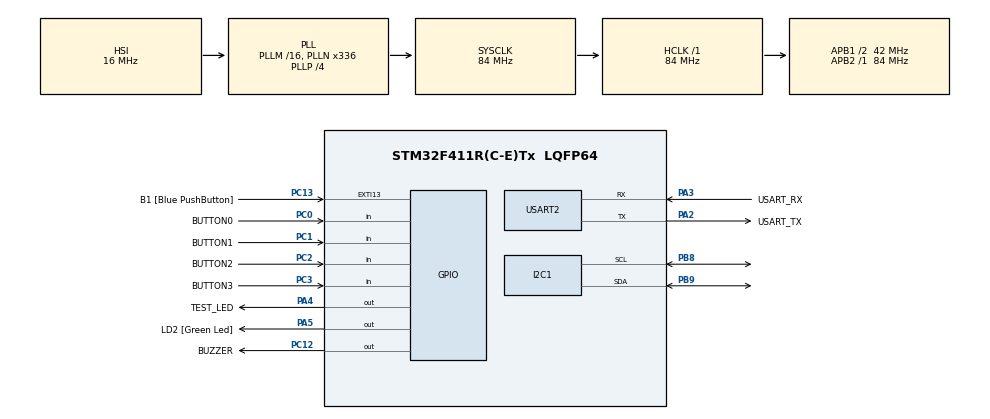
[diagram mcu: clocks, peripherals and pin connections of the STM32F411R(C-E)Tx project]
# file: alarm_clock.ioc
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Mcu.Family=STM32F4
Mcu.Name=STM32F411R(C-E)Tx
Mcu.Package=LQFP64
NVIC.PriorityGroup=NVIC_PRIORITYGROUP_0
NVIC.TIM3_IRQn=true\:0\:0\:false\:false\:true\:true\:true\:true
NVIC.USART2_IRQn=true\:0\:0\:false\:false\:true\:true\:true\:true
PA13.GPIO_Label=TMS
PA13.Mode=Serial_Wire
PA13.Signal=SYS_JTMS-SWDIO
PA14.GPIO_Label=TCK
PA14.Mode=Serial_Wire
PA14.Signal=SYS_JTCK-SWCLK
PA2.GPIO_Label=USART_TX
PA2.Mode=Asynchronous
PA2.Signal=USART2_TX
PA3.GPIO_Label=USART_RX
PA3.Mode=Asynchronous
PA3.Signal=USART2_RX
PA4.GPIO_Label=TEST_LED
PA4.Signal=GPIO_Output
PA5.GPIO_Label=LD2 [Green Led]
PA5.Signal=GPIO_Output
PB8.Mode=I2C
PB8.Signal=I2C1_SCL
PB9.Mode=I2C
PB9.Signal=I2C1_SDA
PC0.GPIO_Label=BUTTON0
PC0.Signal=GPIO_Input
PC1.GPIO_Label=BUTTON1
PC1.Signal=GPIO_Input
PC12.GPIO_Label=BUZZER
PC12.Signal=GPIO_Output
PC13-ANTI_TAMP.GPIO_Label=B1 [Blue PushButton]
PC13-ANTI_TAMP.GPIO_ModeDefaultEXTI=GPIO_MODE_IT_FALLING
PC13-ANTI_TAMP.Signal=GPXTI13
PC14-OSC32_IN.Signal=RCC_OSC32_IN
PC15-OSC32_OUT.Signal=RCC_OSC32_OUT
PC2.GPIO_Label=BUTTON2
PC2.Signal=GPIO_Input
PC3.GPIO_Label=BUTTON3
PC3.Signal=GPIO_Input
PH0\ -\ OSC_IN.Signal=RCC_OSC_IN
PH1\ -\ OSC_OUT.Signal=RCC_OSC_OUT
ProjectManager.HeapSize=0x200
ProjectManager.StackSize=0x400
ProjectManager.TargetToolchain=STM32CubeIDE
RCC.48MHZClocksFreq_Value=84000000
RCC.AHBFreq_Value=84000000
RCC.APB1CLKDivider=RCC_HCLK_DIV2
RCC.APB1Freq_Value=42000000
RCC.APB1TimFreq_Value=84000000
RCC.APB2Freq_Value=84000000
RCC.APB2TimFreq_Value=84000000
RCC.CortexFreq_Value=84000000
RCC.FLatency-AdvancedSettings=FLASH_LATENCY_2
RCC.HCLKFreq_Value=84000000
RCC.HSE_VALUE=8000000
RCC.HSI_VALUE=16000000
RCC.LSE_VALUE=32768
RCC.PLLN=336
RCC.PLLP=RCC_PLLP_DIV4
RCC.SYSCLKFreq_VALUE=84000000
RCC.SYSCLKSource=RCC_SYSCLKSOURCE_PLLCLK
RCC.VCOOutputFreq_Value=336000000
TIM3.AutoReloadPreload=TIM_AUTORELOAD_PRELOAD_ENABLE
TIM3.Period=1000-1
TIM3.Prescaler=8400-1
USART2.VirtualMode=VM_ASYNC
VP_TIM3_VS_ClockSourceINT.Mode=Internal
board=NUCLEO-F411RE

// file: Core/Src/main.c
/* USER CODE BEGIN Header */
/**
 ******************************************************************************
 * @file           : main.c
 * @brief          : Main program body
 ******************************************************************************
 * @attention
 *
 * Copyright (c) 2025 STMicroelectronics.
 * All rights reserved.
 *
 * This software is licensed under terms that can be found in the LICENSE file
 * in the root directory of this software component.
 * If no LICENSE file comes with this software, it is provided AS-IS.
 *
 ******************************************************************************
 */
/* USER CODE END Header */
#include "main.h"

/* USER CODE BEGIN Includes */
#include <stdio.h>
#include <string.h>
#include "clcd.h"

/* USER CODE END Includes */

/* USER CODE BEGIN PD */
#ifdef __GNUC__
/* With GCC, small printf (option LD Linker->Libraries->Small printf
 set to 'Yes') calls __io_putchar() */
#define PUTCHAR_PROTOTYPE int __io_putchar(int ch)
#else
#define PUTCHAR_PROTOTYPE int fputc(int ch, FILE *f)
#endif /* __GNUC__ */
#define ARR_CNT 5
#define CMD_SIZE 50
/* USER CODE END PD */

I2C_HandleTypeDef hi2c1;

TIM_HandleTypeDef htim3;

UART_HandleTypeDef huart2;

/* USER CODE BEGIN PV */

typedef struct {
	int msec;  // 1/10초
	int sec;   // 초
	int min;   // 분
	int hour;  // 시
	char apm;  // 'A' : AM, 'P' : PM
	char mode; // * , ' '
} DATETIME;

DATETIME current_time = { 0, 0, 0, 12, 'A', '\0' };
DATETIME alarm_time = { 0, 1, 0, 12, 'A', '\0' };

char line1[16] = { '\0' };
char line2[16] = { '\0' };
;

int set_mode = 0;

int buzzer_flag = 0;
int buzzer_counter = 0;

const uint16_t button_pins[4] = { BUTTON0_Pin, BUTTON1_Pin, BUTTON2_Pin,
BUTTON3_Pin };
int button_state[4] = { 0 };
int last_button_state[4] = { 0 };
int button_flag[4] = { 0 };

uint8_t rx2char;
volatile unsigned char rx2Flag = 0;
volatile char rx2Data[50];

volatile int time3SecFlag = 0;
volatile unsigned int time3SecCnt = 0;
volatile unsigned int time3Cnt = 0;

/* USER CODE END PV */

void SystemClock_Config(void);
static void MX_GPIO_Init(void);
static void MX_USART2_UART_Init(void);
static void MX_TIM3_Init(void);
static void MX_I2C1_Init(void);
/* USER CODE BEGIN PFP */
void HAL_TIM_PeriodElapsedCallback(TIM_HandleTypeDef *htim);

void clock_display();
void clock_cal();
void clock_set();
void alarm_buzzer();
/* USER CODE END PFP */

int main(void) {

	/* MCU Configuration--------------------------------------------------------*/

	/* Reset of all peripherals, Initializes the Flash interface and the Systick. */
	HAL_Init();

	/* Configure the system clock */
	SystemClock_Config();

	/* Initialize all configured peripherals */
	MX_GPIO_Init();
	MX_USART2_UART_Init();
	MX_TIM3_Init();
	MX_I2C1_Init();
	/* USER CODE BEGIN 2 */
	if (HAL_TIM_Base_Start_IT(&htim3) != HAL_OK)
		Error_Handler();

	HAL_UART_Receive_IT(&huart2, &rx2char, 1);

	LCD_init(&hi2c1);

	char buff[30];

	printf("start main()\r\n");

	/* USER CODE END 2 */

	/* Infinite loop */
	/* USER CODE BEGIN WHILE */
	while (1) {
		clock_set();
		alarm_buzzer();
		if (time3SecFlag) {
			time3SecFlag = 0;

			if (time3SecCnt % 10 == 0) {

				clock_cal();
				clock_display();
				printf("%s\r\n", line1);
				printf("%s\r\n", line2);
				printf("\r\n");
				printf("\r\n");
			}
		}

		/* USER CODE END WHILE */

	}
}

void SystemClock_Config(void) {
	RCC_OscInitTypeDef RCC_OscInitStruct = { 0 };
	RCC_ClkInitTypeDef RCC_ClkInitStruct = { 0 };

	/** Configure the main internal regulator output voltage
	 */
	__HAL_RCC_PWR_CLK_ENABLE();
	__HAL_PWR_VOLTAGESCALING_CONFIG(PWR_REGULATOR_VOLTAGE_SCALE1);

	/** Initializes the RCC Oscillators according to the specified parameters
	 * in the RCC_OscInitTypeDef structure.
	 */
	RCC_OscInitStruct.OscillatorType = RCC_OSCILLATORTYPE_HSI;
	RCC_OscInitStruct.HSIState = RCC_HSI_ON;
	RCC_OscInitStruct.HSICalibrationValue = RCC_HSICALIBRATION_DEFAULT;
	RCC_OscInitStruct.PLL.PLLState = RCC_PLL_ON;
	RCC_OscInitStruct.PLL.PLLSource = RCC_PLLSOURCE_HSI;
	RCC_OscInitStruct.PLL.PLLM = 16;
	RCC_OscInitStruct.PLL.PLLN = 336;
	RCC_OscInitStruct.PLL.PLLP = RCC_PLLP_DIV4;
	RCC_OscInitStruct.PLL.PLLQ = 4;
	if (HAL_RCC_OscConfig(&RCC_OscInitStruct) != HAL_OK) {
		Error_Handler();
	}

	/** Initializes the CPU, AHB and APB buses clocks
	 */
	RCC_ClkInitStruct.ClockType = RCC_CLOCKTYPE_HCLK | RCC_CLOCKTYPE_SYSCLK
			| RCC_CLOCKTYPE_PCLK1 | RCC_CLOCKTYPE_PCLK2;
	RCC_ClkInitStruct.SYSCLKSource = RCC_SYSCLKSOURCE_PLLCLK;
	RCC_ClkInitStruct.AHBCLKDivider = RCC_SYSCLK_DIV1;
	RCC_ClkInitStruct.APB1CLKDivider = RCC_HCLK_DIV2;
	RCC_ClkInitStruct.APB2CLKDivider = RCC_HCLK_DIV1;

	if (HAL_RCC_ClockConfig(&RCC_ClkInitStruct, FLASH_LATENCY_2) != HAL_OK) {
		Error_Handler();
	}
}

static void MX_I2C1_Init(void) {

	hi2c1.Instance = I2C1;
	hi2c1.Init.ClockSpeed = 100000;
	hi2c1.Init.DutyCycle = I2C_DUTYCYCLE_2;
	hi2c1.Init.OwnAddress1 = 0;
	hi2c1.Init.AddressingMode = I2C_ADDRESSINGMODE_7BIT;
	hi2c1.Init.DualAddressMode = I2C_DUALADDRESS_DISABLE;
	hi2c1.Init.OwnAddress2 = 0;
	hi2c1.Init.GeneralCallMode = I2C_GENERALCALL_DISABLE;
	hi2c1.Init.NoStretchMode = I2C_NOSTRETCH_DISABLE;
	if (HAL_I2C_Init(&hi2c1) != HAL_OK) {
		Error_Handler();
	}
}

static void MX_TIM3_Init(void) {

	TIM_ClockConfigTypeDef sClockSourceConfig = { 0 };
	TIM_MasterConfigTypeDef sMasterConfig = { 0 };

	htim3.Instance = TIM3;
	htim3.Init.Prescaler = 8400 - 1;
	htim3.Init.CounterMode = TIM_COUNTERMODE_UP;
	htim3.Init.Period = 1000 - 1;
	htim3.Init.ClockDivision = TIM_CLOCKDIVISION_DIV1;
	htim3.Init.AutoReloadPreload = TIM_AUTORELOAD_PRELOAD_ENABLE;
	if (HAL_TIM_Base_Init(&htim3) != HAL_OK) {
		Error_Handler();
	}
	sClockSourceConfig.ClockSource = TIM_CLOCKSOURCE_INTERNAL;
	if (HAL_TIM_ConfigClockSource(&htim3, &sClockSourceConfig) != HAL_OK) {
		Error_Handler();
	}
	sMasterConfig.MasterOutputTrigger = TIM_TRGO_RESET;
	sMasterConfig.MasterSlaveMode = TIM_MASTERSLAVEMODE_DISABLE;
	if (HAL_TIMEx_MasterConfigSynchronization(&htim3, &sMasterConfig)
			!= HAL_OK) {
		Error_Handler();
	}
}

static void MX_USART2_UART_Init(void) {

	huart2.Instance = USART2;
	huart2.Init.BaudRate = 115200;
	huart2.Init.WordLength = UART_WORDLENGTH_8B;
	huart2.Init.StopBits = UART_STOPBITS_1;
	huart2.Init.Parity = UART_PARITY_NONE;
	huart2.Init.Mode = UART_MODE_TX_RX;
	huart2.Init.HwFlowCtl = UART_HWCONTROL_NONE;
	huart2.Init.OverSampling = UART_OVERSAMPLING_16;
	if (HAL_UART_Init(&huart2) != HAL_OK) {
		Error_Handler();
	}
}

static void MX_GPIO_Init(void) {
	GPIO_InitTypeDef GPIO_InitStruct = { 0 };

	/* GPIO Ports Clock Enable */
	__HAL_RCC_GPIOC_CLK_ENABLE();
	__HAL_RCC_GPIOH_CLK_ENABLE();
	__HAL_RCC_GPIOA_CLK_ENABLE();
	__HAL_RCC_GPIOB_CLK_ENABLE();

	/*Configure GPIO pin Output Level */
	HAL_GPIO_WritePin(GPIOA, TEST_LED_Pin | LD2_Pin, GPIO_PIN_RESET);

	/*Configure GPIO pin Output Level */
	HAL_GPIO_WritePin(BUZZER_GPIO_Port, BUZZER_Pin, GPIO_PIN_RESET);

	/*Configure GPIO pin : B1_Pin */
	GPIO_InitStruct.Pin = B1_Pin;
	GPIO_InitStruct.Mode = GPIO_MODE_IT_FALLING;
	GPIO_InitStruct.Pull = GPIO_NOPULL;
	HAL_GPIO_Init(B1_GPIO_Port, &GPIO_InitStruct);

	/*Configure GPIO pins : BUTTON0_Pin BUTTON1_Pin BUTTON2_Pin BUTTON3_Pin */
	GPIO_InitStruct.Pin = BUTTON0_Pin | BUTTON1_Pin | BUTTON2_Pin | BUTTON3_Pin;
	GPIO_InitStruct.Mode = GPIO_MODE_INPUT;
	GPIO_InitStruct.Pull = GPIO_NOPULL;
	HAL_GPIO_Init(GPIOC, &GPIO_InitStruct);

	/*Configure GPIO pins : TEST_LED_Pin LD2_Pin */
	GPIO_InitStruct.Pin = TEST_LED_Pin | LD2_Pin;
	GPIO_InitStruct.Mode = GPIO_MODE_OUTPUT_PP;
	GPIO_InitStruct.Pull = GPIO_NOPULL;
	GPIO_InitStruct.Speed = GPIO_SPEED_FREQ_LOW;
	HAL_GPIO_Init(GPIOA, &GPIO_InitStruct);

	/*Configure GPIO pin : BUZZER_Pin */
	GPIO_InitStruct.Pin = BUZZER_Pin;
	GPIO_InitStruct.Mode = GPIO_MODE_OUTPUT_PP;
	GPIO_InitStruct.Pull = GPIO_NOPULL;
	GPIO_InitStruct.Speed = GPIO_SPEED_FREQ_LOW;
	HAL_GPIO_Init(BUZZER_GPIO_Port, &GPIO_InitStruct);

}

/* USER CODE BEGIN 4 */

void HAL_TIM_PeriodElapsedCallback(TIM_HandleTypeDef *htim) {
	if (htim->Instance == TIM3) {
		time3SecFlag = 1; // 100ms마다
		time3SecCnt++;	  // 100ms 마다
	}

	if (buzzer_flag == 1) {
		buzzer_counter++;
	}
	if (buzzer_counter >= 600) {
		HAL_GPIO_WritePin(BUZZER_GPIO_Port, BUZZER_Pin, GPIO_PIN_RESET);
		buzzer_flag = 0;
		buzzer_counter = 0;
	}
}

void clock_display() {

	sprintf(line1, "T %02d:%02d:%02d %cM %c", current_time.hour,
			current_time.min, current_time.sec, current_time.apm,
			current_time.mode);

	sprintf(line2, "A %02d:%02d:%02d %cM %c", alarm_time.hour, alarm_time.min,
			alarm_time.sec, alarm_time.apm, alarm_time.mode);

	LCD_writeStringXY(0, 0, line1);
	LCD_writeStringXY(1, 0, line2);
}

void clock_cal() {
	if (time3SecCnt % 10 == 0) {
		current_time.sec++;
		if (current_time.sec >= 60) {
			current_time.sec = 0;
			current_time.min++;
			if (current_time.min >= 60) {
				current_time.min = 0;
				current_time.hour++;
				if (current_time.hour >= 12) {
					current_time.hour = 1;
					current_time.apm = (current_time.apm == 'A') ? 'P' : 'A';
				}
			}
		}
	}
}

void clock_set() {
	for (int i = 0; i < 4; i++) {
		button_state[i] = HAL_GPIO_ReadPin(GPIOC, button_pins[i]);

		if (last_button_state[i] == 0 && button_state[i] == 1) {
			switch (i) {
			case 0:
				printf("button : %d\r\n", i);
				if (set_mode == 2) {
					current_time.hour++;
					if (current_time.hour > 12) {
						current_time.hour = 1;
						current_time.apm =
								(current_time.apm == 'A') ? 'P' : 'A';
					}
				} else if (set_mode == 1) {
					alarm_time.hour++;
					if (alarm_time.hour > 12) {
						alarm_time.hour = 1;
						alarm_time.apm = (alarm_time.apm == 'A') ? 'P' : 'A';
					}
				}
				break;

			case 1:
				printf("button : %d\r\n", i);
				if (set_mode == 2) {
					current_time.min++;
					if (current_time.min >= 60) {
						current_time.min = 0;
						current_time.hour++;
					}
				} else if (set_mode == 1) {
					alarm_time.min++;
					if (alarm_time.min >= 60) {
						alarm_time.min = 0;
						alarm_time.hour++;
					}
				}
				break;

			case 2:
				printf("button : %d\r\n", i);
				if (set_mode == 2) {
					current_time.sec++;
					if (current_time.sec >= 60) {
						current_time.sec = 0;
						current_time.min++;
					}
				} else if (set_mode == 1) {
					alarm_time.sec++;
					if (alarm_time.sec >= 60) {
						alarm_time.sec = 0;
						alarm_time.min++;
					}
				}
				break;

			case 3:
				HAL_GPIO_WritePin(BUZZER_GPIO_Port, BUZZER_Pin, GPIO_PIN_RESET);
				printf("button : %d\r\n", i);

				set_mode++;
				if (set_mode > 2) {
					set_mode = 0;
				}

				if (set_mode == 0) {
					current_time.mode = ' ';
					alarm_time.mode = ' ';
				} else if (set_mode == 1) {
					current_time.mode = ' ';
					alarm_time.mode = '*';
				} else if (set_mode == 2) {
					current_time.mode = '*';
					alarm_time.mode = ' ';
				}

				break;
			}
		}

		last_button_state[i] = button_state[i];
	}
}

void alarm_buzzer() {
	if (!strncmp(&line1[2], &line2[2], 12)) {
		if (buzzer_flag == 0) {
			buzzer_flag = 1;
			buzzer_counter = 0;
			HAL_GPIO_WritePin(BUZZER_GPIO_Port, BUZZER_Pin, GPIO_PIN_SET);
		}
	}
}

/**
 * @brief  Retargets the C library printf function to the USART.
 * @param  None
 * @retval None
 */
PUTCHAR_PROTOTYPE {
	/* Place your implementation of fputc here */
	/* e.g. write a character to the USART6 and Loop until the end of transmission */
	HAL_UART_Transmit(&huart2, (uint8_t*) &ch, 1, 0xFFFF);

	return ch;
}
/* USER CODE END 4 */

void Error_Handler(void) {
	__disable_irq();
	while (1) {
	}
}
